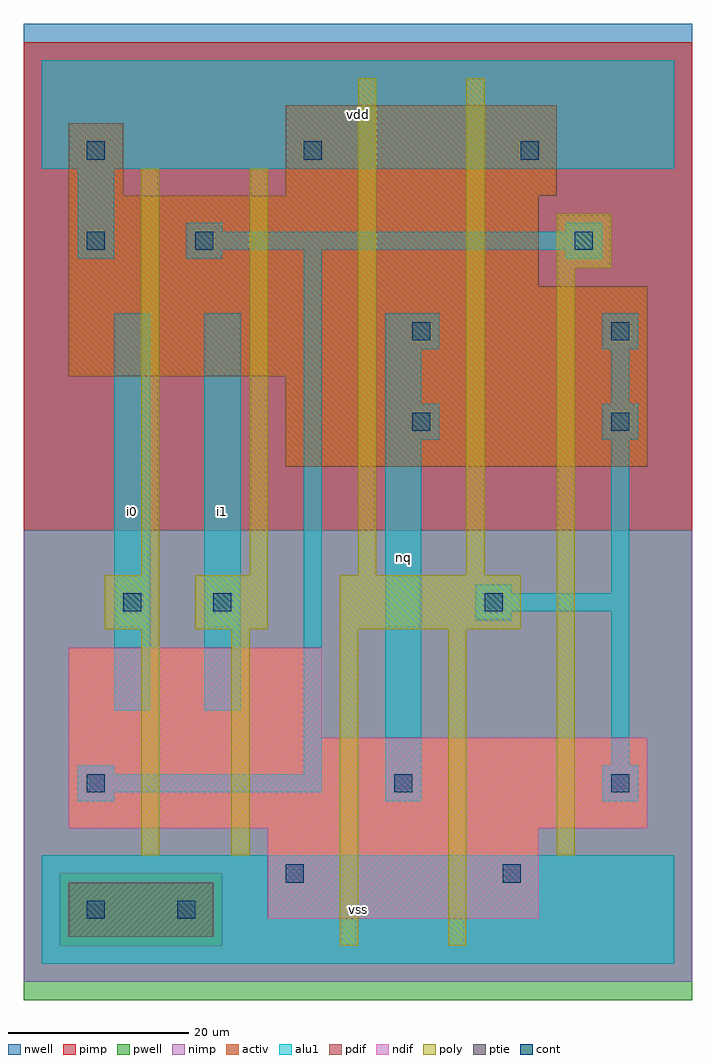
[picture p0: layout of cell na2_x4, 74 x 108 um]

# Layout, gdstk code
import gdstk
lib = gdstk.Library(unit=1e-6, precision=1e-09)
def R(c, l, rs):  # rectangles x0, y0, x1, y1
    for r in rs: c.add(gdstk.rectangle(r[:2], r[2:], *l))
def A(c, l, x, y, w, h, nx, ny, dx, dy):  # array of equal rectangles
    R(c, l, [(x+i*dx, y+j*dy, x+i*dx+w, y+j*dy+h) for i in range(nx) for j in range(ny)])
ndif = (3, 0)
pdif = (4, 0)
ptie = (6, 0)
cont = (25, 0)
pwell = (41, 0)
nwell = (42, 0)
activ = (43, 0)
pimp = (44, 0)
nimp = (45, 0)
poly = (46, 0)
alu1 = (49, 0)

na2_x4 = lib.new_cell('na2_x4')
R(na2_x4, ndif, [(25,5,55,15), (3,15,67,25), (3,25,31,35)])
R(na2_x4, pdif, [(27,55,67,65), (3,65,67,75), (3,75,55,85), (3,85,9,93), (27,85,57,95)])
R(na2_x4, ptie, [(3,3,19,9)])
A(na2_x4, cont, 5, 89, 2, 2, 3, 1, 24, 0)
R(na2_x4, cont, [(5,5,7,7), (15,5,17,7), (27,9,29,11), (51,9,53,11), (5,19,7,21), (39,19,41,21), (63,19,65,21), (9,39,11,41), (19,39,21,41), (49,39,51,41), (41,59,43,61), (63,59,65,61), (41,69,43,71), (63,69,65,71), (5,79,7,81), (17,79,19,81), (59,79,61,81)])
R(na2_x4, pwell, [(-2,-4,72,48)])
R(na2_x4, nwell, [(-2,48,72,104)])
R(na2_x4, activ, [(3,3,19,9), (25,5,55,15), (3,15,67,25), (3,25,31,35), (27,55,67,65), (3,65,67,75), (3,75,55,85), (3,85,9,93), (27,85,57,95)])
R(na2_x4, pimp, [(2,2,20,10), (-2,48,72,102)])
R(na2_x4, nimp, [(-2,-2,72,2), (-2,2,2,10), (20,2,72,10), (-2,10,72,48)])
R(na2_x4, poly, [(33,2,35,37), (45,2,47,37), (11,12,13,37), (21,12,23,37), (57,12,59,77), (7,37,13,43), (17,37,25,43), (33,37,53,43), (11,43,13,88), (23,43,25,88), (35,43,37,98), (47,43,49,98), (57,77,63,83)])
R(na2_x4, alu1, [(0,0,70,12), (4,18,8,19), (38,18,42,58), (62,18,66,22), (4,19,31,21), (4,21,8,22), (29,21,31,79), (63,22,65,39), (8,28,12,72), (18,28,22,72), (48,38,52,39), (48,39,65,41), (48,41,52,42), (63,41,65,58), (38,58,44,62), (62,58,66,62), (38,62,42,68), (63,62,65,68), (38,68,44,72), (62,68,66,72), (4,78,8,88), (16,78,20,79), (58,78,62,79), (16,79,62,81), (16,81,20,82), (58,81,62,82), (0,88,70,100)])
na2_x4.add(gdstk.Label('i0', (10,50), layer=49, texttype=0))
na2_x4.add(gdstk.Label('i1', (20,50), layer=49, texttype=0))
na2_x4.add(gdstk.Label('vss', (35,6), layer=49, texttype=0))
na2_x4.add(gdstk.Label('nq', (40,45), layer=49, texttype=0))
na2_x4.add(gdstk.Label('vdd', (35,94), layer=49, texttype=0))

lib.write_gds('na2_x4.gds')
